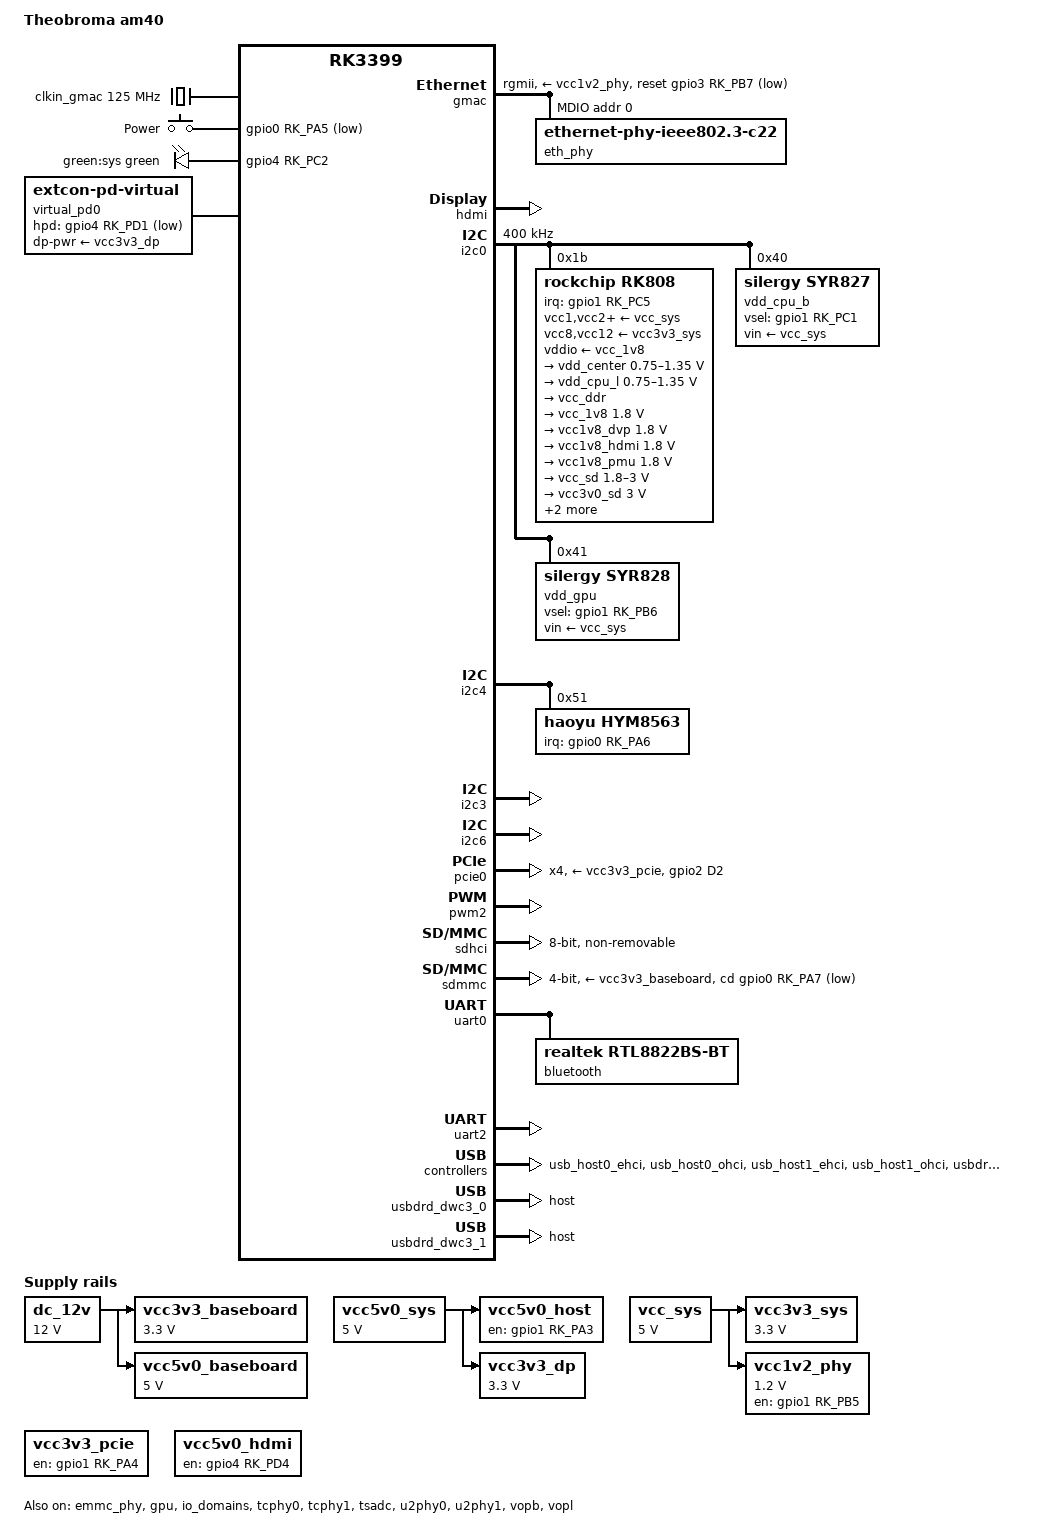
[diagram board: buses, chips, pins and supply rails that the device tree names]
// SPDX-License-Identifier: (GPL-2.0+ OR MIT)

/dts-v1/;

#include <dt-bindings/input/linux-event-codes.h>
#include <dt-bindings/leds/common.h>
#include <dt-bindings/pwm/pwm.h>
#include "rk3399.dtsi"

/ {
	model = "Theobroma am40";
	compatible = "turquoise,rk3399-smart-am40", "rockchip,rk3399";

	aliases {
		ethernet0 = &gmac;
		i2c0 = &i2c0;
		i2c1 = &i2c1;
		i2c2 = &i2c2;
		i2c3 = &i2c3;
		i2c4 = &i2c4;
		i2c5 = &i2c5;
		i2c6 = &i2c6;
		i2c7 = &i2c7;
		i2c8 = &i2c8;
		serial0 = &uart0;
		serial1 = &uart1;
		serial2 = &uart2;
		serial3 = &uart3;
		serial4 = &uart4;
		mmc0 = &sdhci;
		mmc1 = &sdmmc;
	};

	chosen {
		stdout-path = "serial0:115200n8";
	};

	clkin_gmac: external-gmac-clock {
		compatible = "fixed-clock";
		clock-frequency = <125000000>;
		clock-output-names = "clkin_gmac";
		#clock-cells = <0>;
	};

	dc_12v: regulator-dc-12v {
		compatible = "regulator-fixed";
		regulator-name = "dc_12v";
		regulator-always-on;
		regulator-boot-on;
		regulator-min-microvolt = <12000000>;
		regulator-max-microvolt = <12000000>;
	};

	vcc5v0_sys: regulator-vcc5v0-sys {
		compatible = "regulator-fixed";
		regulator-name = "vcc5v0_sys";
		regulator-always-on;
		regulator-boot-on;
		regulator-min-microvolt = <5000000>;
		regulator-max-microvolt = <5000000>;
	};

	vcc_sys: regulator-vcc-sys {
		compatible = "regulator-fixed";
		regulator-name = "vcc_sys";
		regulator-always-on;
		regulator-boot-on;
		regulator-min-microvolt = <5000000>;
		regulator-max-microvolt = <5000000>;
	};

	vcc3v3_sys: regulator-vcc3v3-sys {
		compatible = "regulator-fixed";
		regulator-name = "vcc3v3_sys";
		regulator-always-on;
		regulator-boot-on;
		regulator-min-microvolt = <3300000>;
		regulator-max-microvolt = <3300000>;
		vin-supply = <&vcc_sys>;
	};

	vcc3v3_baseboard: regulator-vcc3v3-baseboard {
		compatible = "regulator-fixed";
		regulator-name = "vcc3v3_baseboard";
		regulator-always-on;
		regulator-boot-on;
		regulator-min-microvolt = <3300000>;
		regulator-max-microvolt = <3300000>;
		vin-supply = <&dc_12v>;
	};

	vcc5v0_baseboard: regulator-vcc5v0-baseboard {
		compatible = "regulator-fixed";
		regulator-name = "vcc5v0_baseboard";
		regulator-always-on;
		regulator-boot-on;
		regulator-min-microvolt = <5000000>;
		regulator-max-microvolt = <5000000>;
		vin-supply = <&dc_12v>;
	};

	/*
	 * vcc1v2_phy powers the GMAC PHY analog core.
	 * gpio1 RK_PB5 (pin 13) = eth-phy-pwr from decompiled pinctrl.
	 */
	vcc1v2_phy: regulator-vcc1v2-phy {
		compatible = "regulator-fixed";
		enable-active-high;
		gpio = <&gpio1 RK_PB5 GPIO_ACTIVE_HIGH>;
		pinctrl-names = "default";
		pinctrl-0 = <&eth_phy_pwr>;
		regulator-name = "vcc1v2_phy";
		regulator-always-on;
		regulator-boot-on;
		regulator-min-microvolt = <1200000>;
		regulator-max-microvolt = <1200000>;
		vin-supply = <&vcc_sys>;
	};

	/*
	 * vcc5v0_host powers USB2 EHCI/OHCI host ports.
	 * gpio1 RK_PA3 (pin 3) = vcc5v0-host-en.
	 */
	vcc5v0_host: regulator-vcc5v0-host {
		compatible = "regulator-fixed";
		enable-active-high;
		gpio = <&gpio1 RK_PA3 GPIO_ACTIVE_HIGH>;
		pinctrl-names = "default";
		pinctrl-0 = <&vcc5v0_host_en>;
		regulator-name = "vcc5v0_host";
		regulator-always-on;
		vin-supply = <&vcc5v0_sys>;
	};

	/*
	 * vcc3v3_pcie powers the PCIe bus (RTL8822BE WiFi card).
	 * gpio1 RK_PA4 (pin 4) = pcie-drv from decompiled pinctrl.
	 */
	vcc3v3_pcie: regulator-vcc3v3-pcie {
		compatible = "regulator-fixed";
		enable-active-high;
		gpio = <&gpio1 RK_PA4 GPIO_ACTIVE_HIGH>;
		pinctrl-names = "default";
		pinctrl-0 = <&pcie_drv>;
		regulator-always-on;
		regulator-boot-on;
		regulator-name = "vcc3v3_pcie";
	};

	/*
	 * vcc5v0_hdmi controls the HDMI 5V supply.
	 * gpio4 RK_PD4 (pin 28) = hdmi-5v-drv from decompiled pinctrl.
	 */
	vcc5v0_hdmi: regulator-vcc5v0-hdmi {
		compatible = "regulator-fixed";
		enable-active-high;
		gpio = <&gpio4 RK_PD4 GPIO_ACTIVE_HIGH>;
		pinctrl-names = "default";
		pinctrl-0 = <&hdmi_5v_drv>;
		regulator-name = "hdmi_5v";
		regulator-always-on;
		regulator-boot-on;
	};

	vcc3v3_dp: regulator-vcc3v3-dp {
		compatible = "regulator-fixed";
		regulator-name = "vcc3v3_dp";
		regulator-always-on;
		regulator-boot-on;
		regulator-min-microvolt = <3300000>;
		regulator-max-microvolt = <3300000>;
		vin-supply = <&vcc5v0_sys>;
	};

	gpio_keys: gpio-keys {
		compatible = "gpio-keys";
		pinctrl-names = "default";
		pinctrl-0 = <&pwrbtn_pin>;

		key-power {
			debounce-interval = <20>;
			gpios = <&gpio0 RK_PA5 GPIO_ACTIVE_LOW>;
			label = "Power";
			linux,code = <KEY_POWER>;
			wakeup-source;
		};
	};

	gpio_leds: gpio-leds {
		compatible = "gpio-leds";
		pinctrl-names = "default";
		pinctrl-0 = <&sys_led_pin>;

		led-0 {
			label = "green:sys";
			function = LED_FUNCTION_POWER;
			default-state = "on";
			color = <LED_COLOR_ID_GREEN>;
			/* gpio4 RK_PC2 (pin 18) = sys-led-pin */
			gpios = <&gpio4 RK_PC2 GPIO_ACTIVE_HIGH>;
		};
	};

	hdmi_sound: hdmi-sound {
		compatible = "simple-audio-card";
		simple-audio-card,format = "i2s";
		simple-audio-card,mclk-fs = <256>;
		simple-audio-card,name = "hdmi-sound";
		status = "okay";

		simple-audio-card,cpu {
			/* i2s2 at 0xff8a0000 drives HDMI audio */
			sound-dai = <&i2s2>;
		};

		simple-audio-card,codec {
			sound-dai = <&hdmi>;
		};
	};

	/*
	 * virtual-pd0: extcon for DisplayPort hotplug detection.
	 * hpd-gpios: gpio4 RK_PD1 (pin 25) active-low = hpd-en pinctrl.
	 */
	virtual_pd0: virtual-pd0 {
		compatible = "linux,extcon-pd-virtual";
		vpd,init-flip = <0>;
		vpd,init-ss = <0>;
		vpd,init-mode = <2>;
		dp-pwr-supply = <&vcc3v3_dp>;
		hpd-gpios = <&gpio4 RK_PD1 GPIO_ACTIVE_LOW>;
		pinctrl-names = "default";
		pinctrl-0 = <&hpd_en>;
	};
};

&cpu_l0 {
	cpu-supply = <&vdd_cpu_l>;
};

&cpu_l1 {
	cpu-supply = <&vdd_cpu_l>;
};

&cpu_l2 {
	cpu-supply = <&vdd_cpu_l>;
};

&cpu_l3 {
	cpu-supply = <&vdd_cpu_l>;
};

&cpu_b0 {
	cpu-supply = <&vdd_cpu_b>;
};

&cpu_b1 {
	cpu-supply = <&vdd_cpu_b>;
};

&emmc_phy {
	status = "okay";
};

/*
 * GMAC: RGMII Gigabit Ethernet.
 * phy-supply: vcc1v2_phy (PHY 1.2V analog).
 * reset: gpio3 RK_PB7 (pin 15) active-low.
 * tx/rx delay: 0x1e = 30 (from decompiled).
 */
&gmac {
	assigned-clocks = <&cru SCLK_RMII_SRC>;
	assigned-clock-parents = <&clkin_gmac>;
	clock_in_out = "input";
	phy-supply = <&vcc1v2_phy>;
	phy-mode = "rgmii";
	pinctrl-names = "default";
	pinctrl-0 = <&rgmii_pins>;
	snps,reset-gpio = <&gpio3 RK_PB7 GPIO_ACTIVE_LOW>;
	snps,reset-active-low;
	snps,reset-delays-us = <0 10000 50000>;
	snps,txpbl = <4>;
	tx_delay = <0x1e>;
	rx_delay = <0x1e>;
	status = "okay";

	mdio {
		compatible = "snps,dwmac-mdio";
		#address-cells = <1>;
		#size-cells = <0>;

		eth_phy: ethernet-phy@0 {
			compatible = "ethernet-phy-ieee802.3-c22";
			reg = <0>;
		};
	};
};

&gpu {
	mali-supply = <&vdd_gpu>;
	status = "okay";
};

/*
 * HDMI: DW-HDMI controller.
 * Connected to vopb (big VOP) via vopb_out_hdmi endpoint.
 * DDC bus on i2c3. HPD / CEC pins from pinctrl hdmi group.
 */
&hdmi {
	ddc-i2c-bus = <&i2c3>;
	pinctrl-names = "default";
	pinctrl-0 = <&hdmi_i2c_xfer>;
	status = "okay";
};

&hdmi_sound {
	status = "okay";
};

/*
 * I2C0 (PMU domain, 0xff3c0000): PMIC (RK808) + CPU-B/GPU regulators.
 * Clock: 400 kHz; rising/falling times from decompiled i2c-scl-*.
 */
&i2c0 {
	clock-frequency = <400000>;
	i2c-scl-rising-time-ns = <168>;
	i2c-scl-falling-time-ns = <4>;
	status = "okay";

	rk808: pmic@1b {
		compatible = "rockchip,rk808";
		reg = <0x1b>;
		interrupt-parent = <&gpio1>;
		/* gpio1 RK_PC5 (21) active-low = pmic-int-l */
		interrupts = <RK_PC5 IRQ_TYPE_LEVEL_LOW>;
		#clock-cells = <1>;
		clock-output-names = "xin32k", "rk808-clkout2";
		pinctrl-names = "default";
		pinctrl-0 = <&pmic_int_l>;
		rockchip,system-power-controller;
		wakeup-source;

		vcc1-supply = <&vcc_sys>;
		vcc2-supply = <&vcc_sys>;
		vcc3-supply = <&vcc_sys>;
		vcc4-supply = <&vcc_sys>;
		vcc6-supply = <&vcc_sys>;
		vcc7-supply = <&vcc_sys>;
		vcc8-supply = <&vcc3v3_sys>;
		vcc9-supply = <&vcc_sys>;
		vcc10-supply = <&vcc_sys>;
		vcc11-supply = <&vcc_sys>;
		vcc12-supply = <&vcc3v3_sys>;
		vddio-supply = <&vcc_1v8>;

		regulators {
			vdd_center: DCDC_REG1 {
				regulator-name = "vdd_center";
				regulator-always-on;
				regulator-boot-on;
				regulator-min-microvolt = <750000>;
				regulator-max-microvolt = <1350000>;
				regulator-ramp-delay = <6001>;
				regulator-state-mem {
					regulator-off-in-suspend;
				};
			};

			vdd_cpu_l: DCDC_REG2 {
				regulator-name = "vdd_cpu_l";
				regulator-always-on;
				regulator-boot-on;
				regulator-min-microvolt = <750000>;
				regulator-max-microvolt = <1350000>;
				regulator-ramp-delay = <6001>;
				regulator-state-mem {
					regulator-off-in-suspend;
				};
			};

			vcc_ddr: DCDC_REG3 {
				regulator-name = "vcc_ddr";
				regulator-always-on;
				regulator-boot-on;
				regulator-state-mem {
					regulator-on-in-suspend;
				};
			};

			vcc_1v8: DCDC_REG4 {
				regulator-name = "vcc_1v8";
				regulator-always-on;
				regulator-boot-on;
				regulator-min-microvolt = <1800000>;
				regulator-max-microvolt = <1800000>;
				regulator-state-mem {
					regulator-on-in-suspend;
					regulator-suspend-microvolt = <1800000>;
				};
			};

			vcc1v8_dvp: LDO_REG1 {
				regulator-name = "vcc1v8_dvp";
				regulator-boot-on;
				regulator-min-microvolt = <1800000>;
				regulator-max-microvolt = <1800000>;
				regulator-state-mem {
					regulator-off-in-suspend;
				};
			};

			vcc1v8_hdmi: LDO_REG2 {
				regulator-name = "vcc1v8_hdmi";
				regulator-always-on;
				regulator-boot-on;
				regulator-min-microvolt = <1800000>;
				regulator-max-microvolt = <1800000>;
				regulator-state-mem {
					regulator-off-in-suspend;
				};
			};

			vcc1v8_pmu: LDO_REG3 {
				regulator-name = "vcc1v8";
				regulator-always-on;
				regulator-boot-on;
				regulator-min-microvolt = <1800000>;
				regulator-max-microvolt = <1800000>;
				regulator-state-mem {
					regulator-on-in-suspend;
					regulator-suspend-microvolt = <1800000>;
				};
			};

			/* SD card I/O voltage (LDO4) */
			vcc_sd: LDO_REG4 {
				regulator-name = "vcc_sd";
				regulator-always-on;
				regulator-boot-on;
				regulator-min-microvolt = <1800000>;
				regulator-max-microvolt = <3000000>;
				regulator-state-mem {
					regulator-off-in-suspend;
				};
			};

			/* SD card power rail (LDO5) */
			vcc3v0_sd: LDO_REG5 {
				regulator-name = "vcc3v0_sd";
				regulator-always-on;
				regulator-boot-on;
				regulator-min-microvolt = <3000000>;
				regulator-max-microvolt = <3000000>;
				regulator-state-mem {
					regulator-off-in-suspend;
				};
			};

			vcc_1v5: LDO_REG6 {
				regulator-name = "vcc_1v5";
				regulator-always-on;
				regulator-boot-on;
				regulator-min-microvolt = <1500000>;
				regulator-max-microvolt = <1500000>;
				regulator-state-mem {
					regulator-off-in-suspend;
				};
			};

			vcc0v9_hdmi: LDO_REG7 {
				regulator-name = "vcc0v9_hdmi";
				regulator-always-on;
				regulator-boot-on;
				regulator-min-microvolt = <900000>;
				regulator-max-microvolt = <900000>;
				regulator-state-mem {
					regulator-off-in-suspend;
				};
			};

			vcc_3v0: LDO_REG8 {
				regulator-name = "vcc_3v0";
				regulator-always-on;
				regulator-boot-on;
				regulator-min-microvolt = <3000000>;
				regulator-max-microvolt = <3000000>;
				regulator-state-mem {
					regulator-off-in-suspend;
				};
			};

			vcc3v3_s3: SWITCH_REG1 {
				regulator-name = "vcc3v3_s3";
				regulator-always-on;
				regulator-boot-on;
				regulator-state-mem {
					regulator-on-in-suspend;
				};
			};

			vcc3v3_s0: SWITCH_REG2 {
				regulator-name = "vcc3v3_s0";
				regulator-always-on;
				regulator-boot-on;
				regulator-state-mem {
					regulator-on-in-suspend;
				};
			};
		};
	};

	/*
	 * vdd_cpu_b: SYR827 CPU-B voltage regulator.
	 * vsel GPIO: gpio1 RK_PC1 (17) = vsel1-gpio pinctrl.
	 */
	vdd_cpu_b: regulator@40 {
		compatible = "silergy,syr827";
		reg = <0x40>;
		fcs,suspend-voltage-selector = <1>;
		pinctrl-names = "default";
		pinctrl-0 = <&vsel1_gpio>;
		vsel-gpios = <&gpio1 RK_PC1 GPIO_ACTIVE_HIGH>;
		vin-supply = <&vcc_sys>;
		regulator-name = "vdd_cpu_b";
		regulator-min-microvolt = <712500>;
		regulator-max-microvolt = <1500000>;
		regulator-ramp-delay = <1000>;
		regulator-always-on;
		regulator-boot-on;
		regulator-state-mem {
			regulator-off-in-suspend;
		};
	};

	/*
	 * vdd_gpu: SYR828 GPU voltage regulator.
	 * vsel GPIO: gpio1 RK_PB6 (14) = vsel2-gpio pinctrl.
	 */
	vdd_gpu: regulator@41 {
		compatible = "silergy,syr828";
		reg = <0x41>;
		fcs,suspend-voltage-selector = <1>;
		pinctrl-names = "default";
		pinctrl-0 = <&vsel2_gpio>;
		vsel-gpios = <&gpio1 RK_PB6 GPIO_ACTIVE_HIGH>;
		regulator-name = "vdd_gpu";
		regulator-compatible = "fan53555-reg";
		regulator-min-microvolt = <712500>;
		regulator-max-microvolt = <1500000>;
		regulator-ramp-delay = <1000>;
		regulator-always-on;
		regulator-boot-on;
		vin-supply = <&vcc_sys>;
		regulator-state-mem {
			regulator-off-in-suspend;
		};
	};
};

/*
 * I2C4 (PMU domain, 0xff3d0000): PT7C4563 RTC.
 * Interrupt: gpio0 RK_PA6 (6) = pt7c4563-irq pinctrl.
 */
&i2c4 {
	status = "okay";

	hym8563: rtc@51 {
		compatible = "haoyu,hym8563";
		reg = <0x51>;
		#clock-cells = <0>;
		clock-output-names = "xin32k";
		interrupt-parent = <&gpio0>;
		interrupts = <RK_PA6 IRQ_TYPE_LEVEL_LOW>;
		pinctrl-names = "default";
		pinctrl-0 = <&pt7c4563_irq>;
	};
};

/* I2C3: HDMI DDC bus */
&i2c3 {
	i2c-scl-rising-time-ns = <450>;
	i2c-scl-falling-time-ns = <15>;
	status = "okay";
};

/* I2C6: general purpose, connected to 0xff160000 */
&i2c6 {
	status = "okay";
};

&io_domains {
	status = "okay";
	bt656-supply = <&vcc_1v8>;
	audio-supply = <&vcc_1v8>;
	sdmmc-supply = <&vcc_sd>;
	gpio1830-supply = <&vcc_3v0>;
};

&pmu_io_domains {
	status = "okay";
	pmu1830-supply = <&vcc_1v8>;
};

/*
 * PCIe: 4-lane, hosts RTL8822BE WiFi+BT combo card.
 * ep-gpios: gpio0 RK_PB5 (13) from decompiled pcie@f8000000.
 * pci-clkreqn pinctrl uses gpio2 RK_PD2 func-2.
 */
&pcie0 {
	ep-gpios = <&gpio0 RK_PB5 GPIO_ACTIVE_HIGH>;
	num-lanes = <4>;
	pinctrl-names = "default";
	pinctrl-0 = <&pci_clkreqn>;
	vpcie3v3-supply = <&vcc3v3_pcie>;
	status = "okay";
};

/* PWM2: used for backlight or fan control */
&pwm2 {
	status = "okay";
};

/* eMMC: HS400 internal flash */
&sdhci {
	bus-width = <8>;
	mmc-hs400-1_8v;
	mmc-hs400-enhanced-strobe;
	non-removable;
	status = "okay";
};

/*
 * SDIO0 (0xfe310000): disabled on am40; WiFi uses PCIe instead.
 * Left disabled to match original decompiled DTB.
 */
&sdio0 {
	status = "disabled";
};

/*
 * SDMMC (0xfe320000): TF/SD card slot.
 * CD: gpio0 RK_PA7 (7) active-low = sdmmc-cd pinctrl.
 * Power: vcc3v3_baseboard; I/O voltage: vcc_sd (1.8V/3.0V).
 */
&sdmmc {
	bus-width = <4>;
	cap-mmc-highspeed;
	cap-sd-highspeed;
	cd-gpios = <&gpio0 RK_PA7 GPIO_ACTIVE_LOW>;
	disable-wp;
	max-frequency = <50000000>;
	pinctrl-names = "default";
	pinctrl-0 = <&sdmmc_clk &sdmmc_cmd &sdmmc_cd &sdmmc_bus4>;
	vmmc-supply = <&vcc3v3_baseboard>;
	vqmmc-supply = <&vcc_sd>;
	status = "okay";
};

&tcphy0 {
	status = "okay";
};

&tcphy1 {
	status = "okay";
};

&tsadc {
	rockchip,hw-tshut-mode = <1>;
	rockchip,hw-tshut-polarity = <1>;
	status = "okay";
};

/*
 * USB2 PHY0 (OTG, 0xff770000 @ 0xe450):
 * OTG VBUS: gpio1 RK_PC6 (22) = otg-vbus-drv pinctrl.
 * host-port phy-supply: vcc5v0_host.
 */
&u2phy0 {
	status = "okay";
	otg-vbus-gpios = <&gpio1 RK_PC6 GPIO_ACTIVE_HIGH>;

	u2phy0_otg: otg-port {
		status = "okay";
	};

	u2phy0_host: host-port {
		phy-supply = <&vcc5v0_host>;
		status = "okay";
	};
};

/* USB2 PHY1 (0xff770000 @ 0xe460) */
&u2phy1 {
	status = "okay";

	u2phy1_otg: otg-port {
		status = "okay";
	};

	u2phy1_host: host-port {
		phy-supply = <&vcc5v0_host>;
		status = "okay";
	};
};

/*
 * UART0: Bluetooth UART (RTL8822BE BT part).
 * Uses RTS/CTS flow control; RTS GPIO for wakeup via uart0-gpios pinctrl.
 * Clock: rk808 output 1 (32.768 kHz) for BT sleep clock.
 */
&uart0 {
	pinctrl-names = "default";
	pinctrl-0 = <&uart0_xfer &uart0_cts &uart0_rts>;
	status = "okay";

	bluetooth {
		compatible = "realtek,rtl8822bs-bt";
		clocks = <&rk808 1>;
		clock-names = "ext_clock";
		pinctrl-names = "default", "rts_gpio";
		pinctrl-0 = <&uart0_rts>;
		pinctrl-1 = <&uart0_gpios>;
	};
};

/* UART2: serial console */
&uart2 {
	status = "okay";
};

/* USB2 EHCI/OHCI host controllers (fe380000 / fe3a0000 / fe3c0000 / fe3e0000) */
&usb_host0_ehci {
	status = "okay";
};

&usb_host0_ohci {
	status = "okay";
};

&usb_host1_ehci {
	status = "okay";
};

&usb_host1_ohci {
	status = "okay";
};

/* USB3 DRD port 0 (fe800000): Type-C / OTG */
&usbdrd3_0 {
	status = "okay";
};

&usbdrd_dwc3_0 {
	dr_mode = "host";
	extcon = <&u2phy0>;
	status = "okay";
};

/* USB3 DRD port 1 (fe900000): host-only */
&usbdrd3_1 {
	status = "okay";
};

&usbdrd_dwc3_1 {
	dr_mode = "host";
	status = "okay";
};

/* VOP big: primary display (connected to HDMI vopb_out_hdmi) */
&vopb {
	status = "okay";
};

&vopb_mmu {
	status = "okay";
};

/* VOP little: secondary display */
&vopl {
	status = "okay";
};

&vopl_mmu {
	status = "okay";
};

&pinctrl {
	buttons {
		/* gpio0 RK_PA5 (5) pull-up, GPIO = power button */
		pwrbtn_pin: pwrbtn-pin {
			rockchip,pins = <0 RK_PA5 RK_FUNC_GPIO &pcfg_pull_up>;
		};
	};

	eth_phy {
		/* gpio1 RK_PB5 (13) GPIO, controls PHY power */
		eth_phy_pwr: eth-phy-pwr {
			rockchip,pins = <1 RK_PB5 RK_FUNC_GPIO &pcfg_pull_none>;
		};
	};

	hdmi {
		/* gpio4 RK_PD4 (28) output-high = HDMI 5V enable */
		hdmi_5v_drv: hdmi-5v-drv {
			rockchip,pins = <4 RK_PD4 RK_FUNC_GPIO &pcfg_output_high>;
		};
	};

	hpd {
		/* gpio4 RK_PD1 (25) GPIO = DP/HDMI HPD sense */
		hpd_en: hpd-en {
			rockchip,pins = <4 RK_PD1 RK_FUNC_GPIO &pcfg_pull_none>;
		};
	};

	leds {
		/* gpio4 RK_PC2 (18) GPIO = system LED */
		sys_led_pin: sys-led-pin {
			rockchip,pins = <4 RK_PC2 RK_FUNC_GPIO &pcfg_pull_none>;
		};
	};

	pcie {
		/* gpio1 RK_PA4 (4) GPIO = PCIe power enable */
		pcie_drv: pcie-drv {
			rockchip,pins = <1 RK_PA4 RK_FUNC_GPIO &pcfg_pull_none>;
		};

		/* gpio2 RK_PD2 (26) func-2 = PCIe CLKREQN */
		pci_clkreqn: pci-clkreqn {
			rockchip,pins = <2 RK_PD2 2 &pcfg_pull_none>;
		};
	};

	pmic {
		/* gpio1 RK_PC5 (21) pull-up = PMIC interrupt */
		pmic_int_l: pmic-int-l {
			rockchip,pins = <1 RK_PC5 RK_FUNC_GPIO &pcfg_pull_up>;
		};

		/* gpio1 RK_PC1 (17) pull-down = CPU-B vsel */
		vsel1_gpio: vsel1-gpio {
			rockchip,pins = <1 RK_PC1 RK_FUNC_GPIO &pcfg_pull_down>;
		};

		/* gpio1 RK_PB6 (14) pull-down = GPU vsel */
		vsel2_gpio: vsel2-gpio {
			rockchip,pins = <1 RK_PB6 RK_FUNC_GPIO &pcfg_pull_down>;
		};
	};

	pt7c_irq {
		/* gpio0 RK_PA6 (6) pull-up = RTC interrupt */
		pt7c4563_irq: pt7c4563-irq {
			rockchip,pins = <0 RK_PA6 RK_FUNC_GPIO &pcfg_pull_up>;
		};
	};

	usb2 {
		/* gpio1 RK_PA3 (3) GPIO = USB host 5V enable */
		vcc5v0_host_en: vcc5v0-host-en {
			rockchip,pins = <1 RK_PA3 RK_FUNC_GPIO &pcfg_pull_none>;
		};

		/* gpio1 RK_PC6 (22) GPIO = OTG VBUS drive */
		otg_vbus_drv: otg-vbus-drv {
			rockchip,pins = <1 RK_PC6 RK_FUNC_GPIO &pcfg_pull_none>;
		};
	};

	wireless-bluetooth {
		/* gpio2 RK_PC3 (19) GPIO = UART0 RTS as GPIO (BT wakeup) */
		uart0_gpios: uart0-gpios {
			rockchip,pins = <2 RK_PC3 RK_FUNC_GPIO &pcfg_pull_none>;
		};
	};
};
